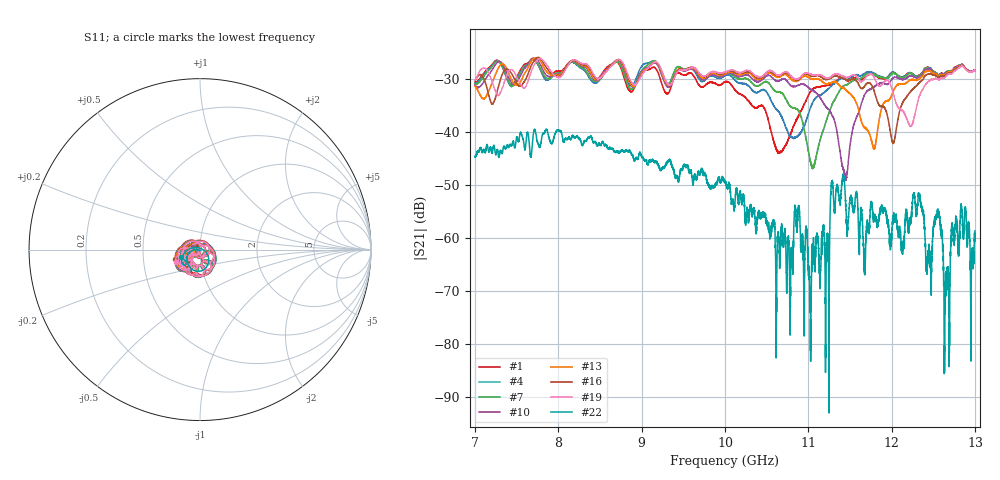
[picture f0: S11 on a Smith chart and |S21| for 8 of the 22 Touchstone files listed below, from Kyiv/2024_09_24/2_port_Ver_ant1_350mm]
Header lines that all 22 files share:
[Version] 2.0
! Rohde & Schwarz Vector Network Analyzer
! Rohde-Schwarz,ZNL20-2Port,1323001220200009,1.71.1.10-23.02.1.238
! Port Assignments:
! Nominal Port -> Actual Test Port
!  1 -> 1
!  2 -> 2
# Hz S DB R 50
[Number of Ports] 2
[Two-Port Data Order] 21_12
! freq[Hz]  S11[mag dB]  S11[ang]  S21[mag dB]  S21[ang]  S12[mag dB]  S12[ang]  S22[mag dB]  S22[ang]
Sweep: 7 GHz to 13 GHz
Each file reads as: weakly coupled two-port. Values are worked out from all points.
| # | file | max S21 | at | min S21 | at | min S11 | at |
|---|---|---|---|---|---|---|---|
| 1 | 0.01.s2p | -26.16 dB | 7.695 GHz | -44.1 dB | 10.66 GHz | -61.9 dB | 12.5 GHz |
| 2 | 1.s2p | -26.05 dB | 8.693 GHz | -39.9 dB | 10.73 GHz | -62.3 dB | 12.5 GHz |
| 3 | 2.s2p | -26.30 dB | 7.696 GHz | -41.0 dB | 10.79 GHz | -63.0 dB | 12.5 GHz |
| 4 | 3.s2p | -26.30 dB | 7.696 GHz | -41.3 dB | 10.82 GHz | -62.9 dB | 12.5 GHz |
| 5 | 4.s2p | -26.23 dB | 7.695 GHz | -41.8 dB | 10.92 GHz | -61.3 dB | 12.5 GHz |
| 6 | 5.s2p | -26.25 dB | 7.697 GHz | -44.5 dB | 10.98 GHz | -61.4 dB | 12.5 GHz |
| 7 | 6.s2p | -26.17 dB | 7.696 GHz | -46.9 dB | 11.05 GHz | -61.4 dB | 12.5 GHz |
| 8 | 7.s2p | -26.17 dB | 7.696 GHz | -50.7 dB | 11.19 GHz | -60.6 dB | 12.5 GHz |
| 9 | 8.s2p | -26.10 dB | 7.696 GHz | -59.4 dB | 11.32 GHz | -64.7 dB | 12.5 GHz |
| 10 | 9.s2p | -26.05 dB | 7.704 GHz | -49.1 dB | 11.45 GHz | -67.3 dB | 12.51 GHz |
| 11 | 10.s2p | -26.02 dB | 7.706 GHz | -46.7 dB | 11.56 GHz | -69.2 dB | 12.51 GHz |
| 12 | 11.s2p | -25.96 dB | 7.718 GHz | -46.8 dB | 11.64 GHz | -69.5 dB | 12.51 GHz |
| 13 | 12.s2p | -26.03 dB | 7.746 GHz | -43.3 dB | 11.79 GHz | -79.7 dB | 12.51 GHz |
| 14 | 13.s2p | -25.94 dB | 7.746 GHz | -42.8 dB | 11.84 GHz | -74.4 dB | 12.51 GHz |
| 15 | 14.s2p | -25.95 dB | 7.748 GHz | -40.4 dB | 11.97 GHz | -67.1 dB | 12.51 GHz |
| 16 | 15.s2p | -25.92 dB | 7.756 GHz | -42.2 dB | 12.02 GHz | -65.4 dB | 12.52 GHz |
| 17 | 16.s2p | -26.02 dB | 7.756 GHz | -41.4 dB | 12.05 GHz | -58.7 dB | 12.52 GHz |
| 18 | 17.s2p | -26.06 dB | 7.767 GHz | -38.7 dB | 12.1 GHz | -54.5 dB | 12.52 GHz |
| 19 | 18.s2p | -26.15 dB | 7.778 GHz | -39.0 dB | 12.22 GHz | -51.2 dB | 12.52 GHz |
| 20 | 19.8.s2p | -26.13 dB | 7.789 GHz | -39.5 dB | 12.29 GHz | -45.7 dB | 8.424 GHz |
| 21 | 19.s2p | -26.10 dB | 7.784 GHz | -39.8 dB | 12.26 GHz | -47.3 dB | 12.53 GHz |
| 22 | noDUT.s2p | -39.50 dB | 7.855 GHz | -93.0 dB | 11.25 GHz | -46.0 dB | 12.99 GHz |
